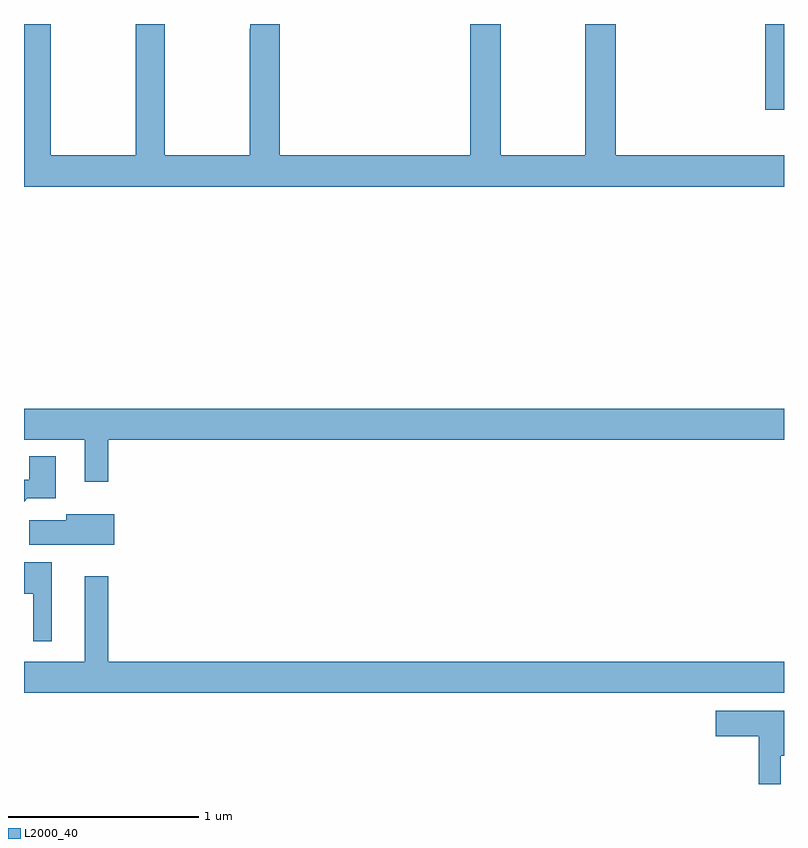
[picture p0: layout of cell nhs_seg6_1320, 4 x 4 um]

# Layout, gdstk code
import gdstk
lib = gdstk.Library(unit=1e-6, precision=1e-09)
def R(c, l, rs):  # rectangles x0, y0, x1, y1
    for r in rs: c.add(gdstk.rectangle(r[:2], r[2:], *l))
def P(c, l, *ps):  # polygons
    for p in ps: c.add(gdstk.Polygon(p, *l))
L2000_40 = (2000, 40)

nhs_seg6_1320 = lib.new_cell('nhs_seg6_1320')
R(nhs_seg6_1320, L2000_40, [(194.902,973.05,195,973.5)])
P(nhs_seg6_1320, L2000_40, [(195,972.808),(194.114,972.808),(194.114,973.5),(193.954,973.5),(193.954,972.808),(193.509,972.808),(193.509,973.5),(193.349,973.5),(193.349,972.808),(192.347,972.808),(192.347,973.5),(192.191,973.5),(192.191,973.475),(192.187,973.475),(192.187,972.808),(191.742,972.808),(191.742,973.5),(191.587,973.5),(191.587,972.808),(191.142,972.808),(191.142,973.5),(191,973.5),(191,972.644),(195,972.644)],
  [(191.443,971.312),(195,971.312),(195,971.476),(191,971.476),(191,971.312),(191.321,971.312),(191.321,971.091),(191.443,971.091)],
  [(191.018,971.003),(191.167,971.003),(191.167,971.224),(191.027,971.224),(191.027,971.101),(191,971.101),(191,970.985)],
  [(191.476,970.921),(191.222,970.921),(191.222,970.889),(191.028,970.889),(191.028,970.76),(191.476,970.76)],
  [(191.146,970.666),(191,970.666),(191,970.502),(191.048,970.502),(191.048,970.251),(191.146,970.251)],
  [(195,970.144),(191.443,970.144),(191.443,970.594),(191.321,970.594),(191.321,970.144),(191,970.144),(191,969.98),(195,969.98)],
  [(194.982,969.65),(195,969.65),(195,969.886),(194.64,969.886),(194.64,969.752),(194.866,969.752),(194.866,969.5),(194.982,969.5)])

lib.write_gds('nhs_seg6_1320.gds')
